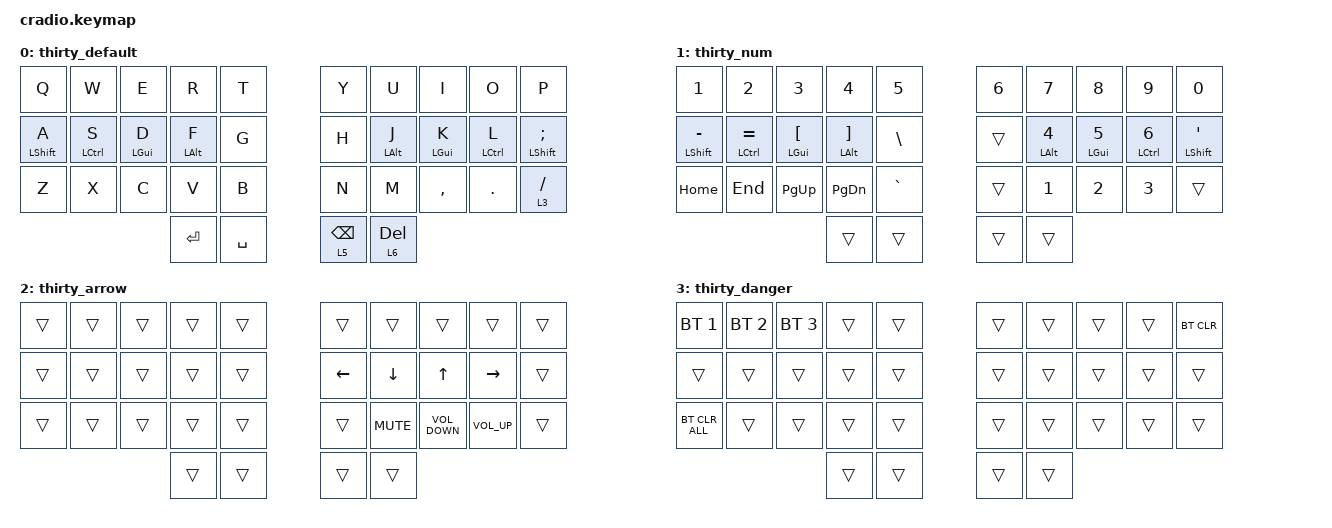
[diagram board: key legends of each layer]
/*
* Copyright (c) 2021 The ZMK Contributors
*
* SPDX-License-Identifier: MIT
*/

#include <behaviors.dtsi>
#include <dt-bindings/zmk/bt.h>
#include <dt-bindings/zmk/keys.h>

#define Default_layer 0

/ {
    behaviors {
        hm: homerow_mods {
            compatible = "zmk,behavior-hold-tap";
            label = "homerow mods";
            #binding-cells = <2>;
            tapping_term_ms = <200>;
            flavor = "tap-preferred";
            bindings = <&kp>, <&kp>;
        };
    };

    combos {
        compatible = "zmk,combos";

        tab {
            bindings = <&kp TAB>;
            key-positions = <11 10>;
        };

        f1 {
            bindings = <&kp F1>;
            key-positions = <0 10>;
        };

        f2 {
            bindings = <&kp F2>;
            key-positions = <1 11>;
        };

        f3 {
            bindings = <&kp F3>;
            key-positions = <2 12>;
        };

        f4 {
            bindings = <&kp F4>;
            key-positions = <3 13>;
        };

        f5 {
            bindings = <&kp F5>;
            key-positions = <4 14>;
        };

        f6 {
            bindings = <&kp F6>;
            key-positions = <5 15>;
        };

        f7 {
            bindings = <&kp F7>;
            key-positions = <6 16>;
        };

        f8 {
            bindings = <&kp F8>;
            key-positions = <7 17>;
        };

        f9 {
            bindings = <&kp F9>;
            key-positions = <8 18>;
        };

        f10 {
            bindings = <&kp F10>;
            key-positions = <9 19>;
        };

        f11 {
            bindings = <&kp F11>;
            key-positions = <10 20>;
        };

        f12 {
            bindings = <&kp F12>;
            key-positions = <11 21>;
        };

        home {
            bindings = <&kp HOME>;
            key-positions = <20 21>;
        };

        end {
            bindings = <&kp END>;
            key-positions = <21 22>;
        };

        pgup {
            bindings = <&kp PG_UP>;
            key-positions = <22 23>;
        };

        pgdn {
            bindings = <&kp PG_DN>;
            key-positions = <23 24>;
        };

        esc {
            bindings = <&kp ESC>;
            key-positions = <1 0>;
        };

        shift {
            bindings = <&kp LEFT_SHIFT>;
            key-positions = <10 19>;
        };

        ctrl {
            bindings = <&kp LCTRL>;
            key-positions = <11 18>;
        };

        gui {
            bindings = <&kp LEFT_GUI>;
            key-positions = <12 17>;
        };

        alt {
            bindings = <&kp LEFT_ALT>;
            key-positions = <16 13>;
        };
    };

    keymap {
        compatible = "zmk,keymap";

        thirty_default {
            bindings = <
&kp Q             &kp W        &kp E           &kp R           &kp T        &kp Y            &kp U           &kp I           &kp O        &kp P
&hm LEFT_SHIFT A  &hm LCTRL S  &hm LEFT_GUI D  &hm LEFT_ALT F  &kp G        &kp H            &hm LEFT_ALT J  &hm LEFT_GUI K  &hm LCTRL L  &hm LEFT_SHIFT SEMI
&kp Z             &kp X        &kp C           &kp V           &kp B        &kp N            &kp M           &kp COMMA       &kp DOT      &lt 3 SLASH
                                               &kp ENTER       &kp SPACE    &lt 5 BACKSPACE  &lt 6 DEL
            >;
        };

        thirty_num {
            bindings = <
&kp N1                &kp N2           &kp N3             &kp N4             &kp N5       &kp N6  &kp N7           &kp N8           &kp N9        &kp N0
&hm LEFT_SHIFT MINUS  &hm LCTRL EQUAL  &hm LEFT_GUI LBKT  &hm LEFT_ALT RBKT  &kp BSLH     &trans  &hm LEFT_ALT N4  &hm LEFT_GUI N5  &hm LCTRL N6  &hm LEFT_SHIFT SQT
&kp HOME              &kp END          &kp PG_UP          &kp PG_DN          &kp GRAVE    &trans  &kp N1           &kp N2           &kp N3        &trans
                                                          &trans             &trans       &trans  &trans
            >;
        };

        thirty_arrow {
            bindings = <
&trans  &trans  &trans  &trans  &trans    &trans    &trans      &trans             &trans           &trans
&trans  &trans  &trans  &trans  &trans    &kp LEFT  &kp DOWN    &kp UP             &kp RIGHT        &trans
&trans  &trans  &trans  &trans  &trans    &trans    &kp C_MUTE  &kp C_VOLUME_DOWN  &kp C_VOLUME_UP  &trans
                        &trans  &trans    &trans    &trans
            >;
        };

        thirty_danger {
            bindings = <
&bt BT_SEL 1    &bt BT_SEL 2  &bt BT_SEL 3  &trans  &trans    &trans  &trans  &trans  &trans  &bt BT_CLR
&trans          &trans        &trans        &trans  &trans    &trans  &trans  &trans  &trans  &trans
&bt BT_CLR_ALL  &trans        &trans        &trans  &trans    &trans  &trans  &trans  &trans  &trans
                                            &trans  &trans    &trans  &trans
            >;
        };
    };
};
